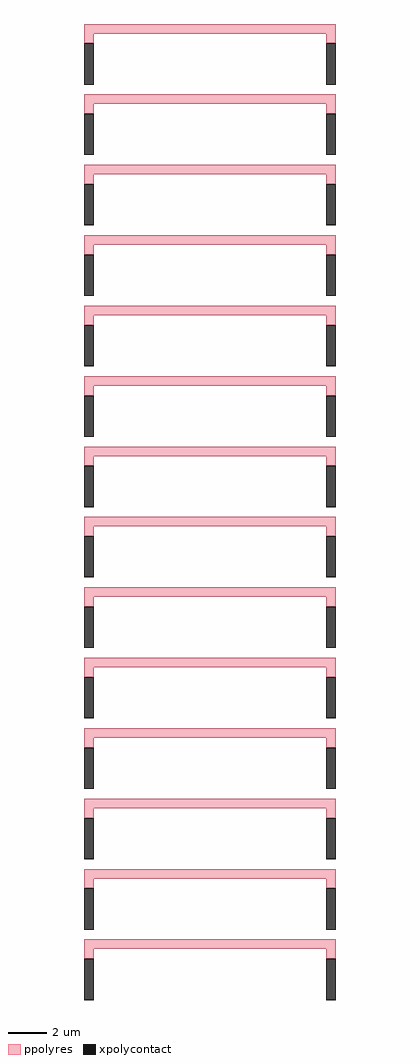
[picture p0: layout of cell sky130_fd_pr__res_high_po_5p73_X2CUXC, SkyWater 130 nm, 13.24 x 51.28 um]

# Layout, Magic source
magic
tech sky130B
<< xpolycontact >>
rect -662 2246 -612 2462
rect 612 2246 662 2462
rect -662 1876 -612 2092
rect 612 1876 662 2092
rect -662 1506 -612 1722
rect 612 1506 662 1722
rect -662 1136 -612 1352
rect 612 1136 662 1352
rect -662 766 -612 982
rect 612 766 662 982
rect -662 396 -612 612
rect 612 396 662 612
rect -662 26 -612 242
rect 612 26 662 242
rect -662 -344 -612 -128
rect 612 -344 662 -128
rect -662 -714 -612 -498
rect 612 -714 662 -498
rect -662 -1084 -612 -868
rect 612 -1084 662 -868
rect -662 -1454 -612 -1238
rect 612 -1454 662 -1238
rect -662 -1824 -612 -1608
rect 612 -1824 662 -1608
rect -662 -2194 -612 -1978
rect 612 -2194 662 -1978
rect -662 -2564 -612 -2348
rect 612 -2564 662 -2348
<< ppolyres >>
rect -662 2514 662 2564
rect -662 2462 -612 2514
rect 612 2462 662 2514
rect -662 2144 662 2194
rect -662 2092 -612 2144
rect 612 2092 662 2144
rect -662 1774 662 1824
rect -662 1722 -612 1774
rect 612 1722 662 1774
rect -662 1404 662 1454
rect -662 1352 -612 1404
rect 612 1352 662 1404
rect -662 1034 662 1084
rect -662 982 -612 1034
rect 612 982 662 1034
rect -662 664 662 714
rect -662 612 -612 664
rect 612 612 662 664
rect -662 294 662 344
rect -662 242 -612 294
rect 612 242 662 294
rect -662 -76 662 -26
rect -662 -128 -612 -76
rect 612 -128 662 -76
rect -662 -446 662 -396
rect -662 -498 -612 -446
rect 612 -498 662 -446
rect -662 -816 662 -766
rect -662 -868 -612 -816
rect 612 -868 662 -816
rect -662 -1186 662 -1136
rect -662 -1238 -612 -1186
rect 612 -1238 662 -1186
rect -662 -1556 662 -1506
rect -662 -1608 -612 -1556
rect 612 -1608 662 -1556
rect -662 -1926 662 -1876
rect -662 -1978 -612 -1926
rect 612 -1978 662 -1926
rect -662 -2296 662 -2246
rect -662 -2348 -612 -2296
rect 612 -2348 662 -2296
<< properties >>
string gencell sky130_fd_pr__res_high_po_5p73
string library sky130
string parameters w 0.5 l 0.5 m 14 nx 14 wmin 5.730 lmin 0.50 rho 319.8 val 4.616k dummy 0 dw 0.0 term 194.82 sterm 0.0 caplen 0 guard 0 glc 0 grc 0 gtc 0 gbc 0 compatible {sky130_fd_pr__res_high_po_0p35  sky130_fd_pr__res_high_po_0p69 sky130_fd_pr__res_high_po_1p41  sky130_fd_pr__res_high_po_2p85 sky130_fd_pr__res_high_po_5p73} snake 1 full_metal 0 wmax 5.730 n_guard 0 hv_guard 0 vias 1 viagb 0 viagt 0 viagl 0 viagr 0
<< end >>
